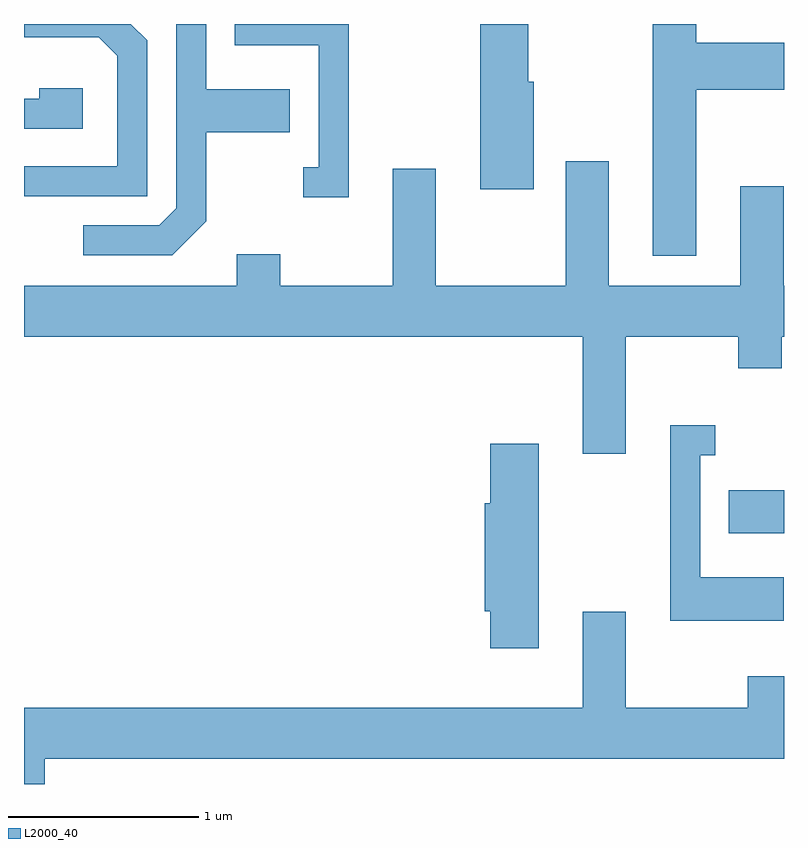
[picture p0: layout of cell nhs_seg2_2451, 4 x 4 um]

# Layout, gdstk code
import gdstk
lib = gdstk.Library(unit=1e-6, precision=1e-09)
def R(c, l, rs):  # rectangles x0, y0, x1, y1
    for r in rs: c.add(gdstk.rectangle(r[:2], r[2:], *l))
def P(c, l, *ps):  # polygons
    for p in ps: c.add(gdstk.Polygon(p, *l))
L2000_40 = (2000, 40)

nhs_seg2_2451 = lib.new_cell('nhs_seg2_2451')
R(nhs_seg2_2451, L2000_40, [(261.321,985.121,261.611,985.349)])
P(nhs_seg2_2451, L2000_40, [(259.319,987.802),(258.721,987.802),(258.721,987.691),(259.161,987.691),(259.161,987.049),(259.082,987.049),(259.082,986.891),(259.319,986.891)],
  [(258.259,987.717),(258.174,987.802),(257.611,987.802),(257.611,987.731),(258.004,987.731),(258.101,987.634),(258.101,987.054),(257.611,987.054),(257.611,986.896),(258.259,986.896)],
  [(258.569,986.764),(258.569,987.231),(259.009,987.231),(259.009,987.459),(258.569,987.459),(258.569,987.802),(258.411,987.802),(258.411,986.832),(258.324,986.744),(257.923,986.744),(257.923,986.586),(258.392,986.586)],
  [(260.294,987.499),(260.264,987.499),(260.264,987.802),(260.011,987.802),(260.011,986.931),(260.294,986.931)],
  [(261.149,987.456),(261.611,987.456),(261.611,987.704),(261.149,987.704),(261.149,987.802),(260.921,987.802),(260.921,986.581),(261.149,986.581)],
  [(257.919,987.464),(257.691,987.464),(257.691,987.409),(257.611,987.409),(257.611,987.251),(257.919,987.251)],
  [(260.779,986.156),(261.371,986.156),(261.371,985.991),(261.599,985.991),(261.599,986.156),(261.611,986.156),(261.611,986.424),(261.609,986.424),(261.609,986.949),(261.381,986.949),(261.381,986.424),(260.689,986.424),(260.689,987.079),(260.461,987.079),(260.461,986.424),(259.779,986.424),(259.779,987.039),(259.551,987.039),(259.551,986.424),(258.959,986.424),(258.959,986.589),(258.731,986.589),(258.731,986.424),(257.611,986.424),(257.611,986.156),(260.551,986.156),(260.551,985.541),(260.779,985.541)],
  [(261.609,984.889),(261.169,984.889),(261.169,985.531),(261.248,985.531),(261.248,985.689),(261.011,985.689),(261.011,984.661),(261.609,984.661)],
  [(260.319,985.594),(260.066,985.594),(260.066,985.279),(260.036,985.279),(260.036,984.711),(260.066,984.711),(260.066,984.516),(260.319,984.516)],
  [(257.719,983.936),(261.611,983.936),(261.611,984.369),(261.421,984.369),(261.421,984.204),(260.779,984.204),(260.779,984.709),(260.551,984.709),(260.551,984.204),(257.611,984.204),(257.611,983.802),(257.719,983.802)])

lib.write_gds('nhs_seg2_2451.gds')
